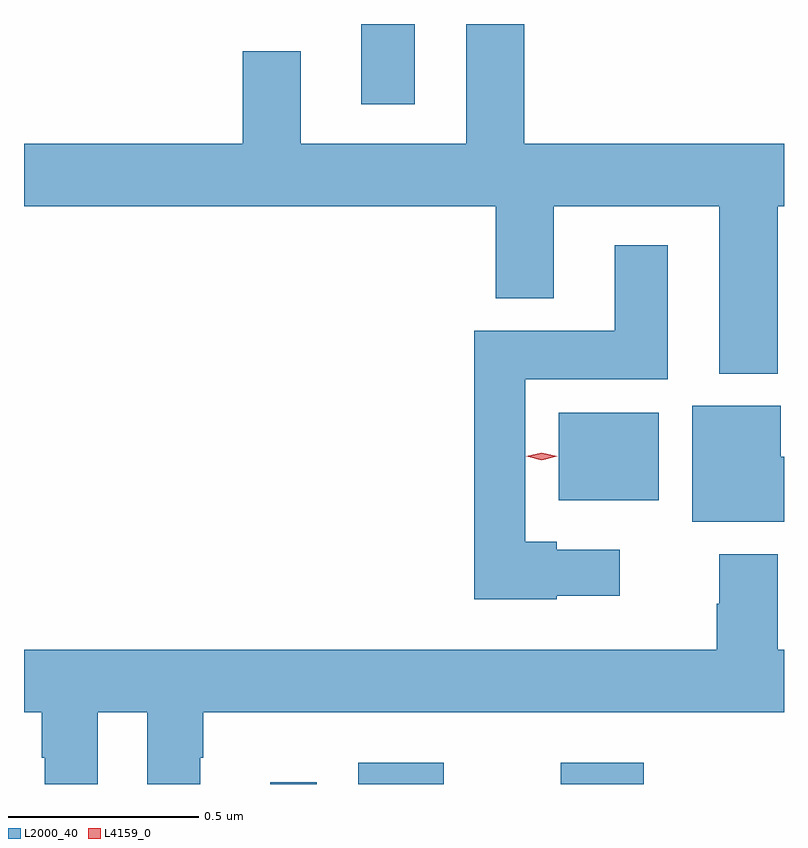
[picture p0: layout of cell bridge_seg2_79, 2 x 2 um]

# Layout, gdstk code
import gdstk
lib = gdstk.Library(unit=1e-6, precision=1e-09)
def R(c, l, rs):  # rectangles x0, y0, x1, y1
    for r in rs: c.add(gdstk.rectangle(r[:2], r[2:], *l))
def P(c, l, *ps):  # polygons
    for p in ps: c.add(gdstk.Polygon(p, *l))
L2000_40 = (2000, 40)
L4159_0 = (4159, 0)

bridge_seg2_79 = lib.new_cell('bridge_seg2_79')
R(bridge_seg2_79, L2000_40, [(362.393,646.115,362.515,646.12), (362.625,646.115,362.85,646.171), (363.157,646.115,363.376,646.171), (363.152,646.862,363.415,647.092), (362.633,647.904,362.773,648.115)])
P(bridge_seg2_79, L2000_40, [(363.728,647.636),(363.745,647.636),(363.745,647.8),(363.062,647.8),(363.062,648.115),(362.909,648.115),(362.909,647.8),(362.473,647.8),(362.473,648.043),(362.321,648.043),(362.321,647.8),(361.745,647.8),(361.745,647.636),(362.987,647.636),(362.987,647.393),(363.139,647.393),(363.139,647.636),(363.575,647.636),(363.575,647.195),(363.728,647.195)],
  [(363.147,646.61),(363.313,646.61),(363.313,646.732),(363.147,646.732),(363.147,646.753),(363.064,646.753),(363.064,647.18),(363.439,647.18),(363.439,647.533),(363.299,647.533),(363.299,647.308),(362.93,647.308),(362.93,646.601),(363.147,646.601)],
  [(363.745,646.976),(363.736,646.976),(363.736,647.11),(363.503,647.11),(363.503,646.805),(363.745,646.805)],
  [(361.939,646.304),(362.069,646.304),(362.069,646.115),(362.209,646.115),(362.209,646.184),(362.217,646.184),(362.217,646.304),(363.745,646.304),(363.745,646.468),(363.728,646.468),(363.728,646.72),(363.575,646.72),(363.575,646.589),(363.568,646.589),(363.568,646.468),(361.745,646.468),(361.745,646.304),(361.792,646.304),(361.792,646.184),(361.799,646.184),(361.799,646.115),(361.939,646.115)])
P(bridge_seg2_79, L4159_0, [(363.108,646.967),(363.067,646.977),(363.066,646.977),(363.067,646.977),(363.108,646.987),(363.148,646.977),(363.148,646.977),(363.148,646.977)])

lib.write_gds('bridge_seg2_79.gds')
